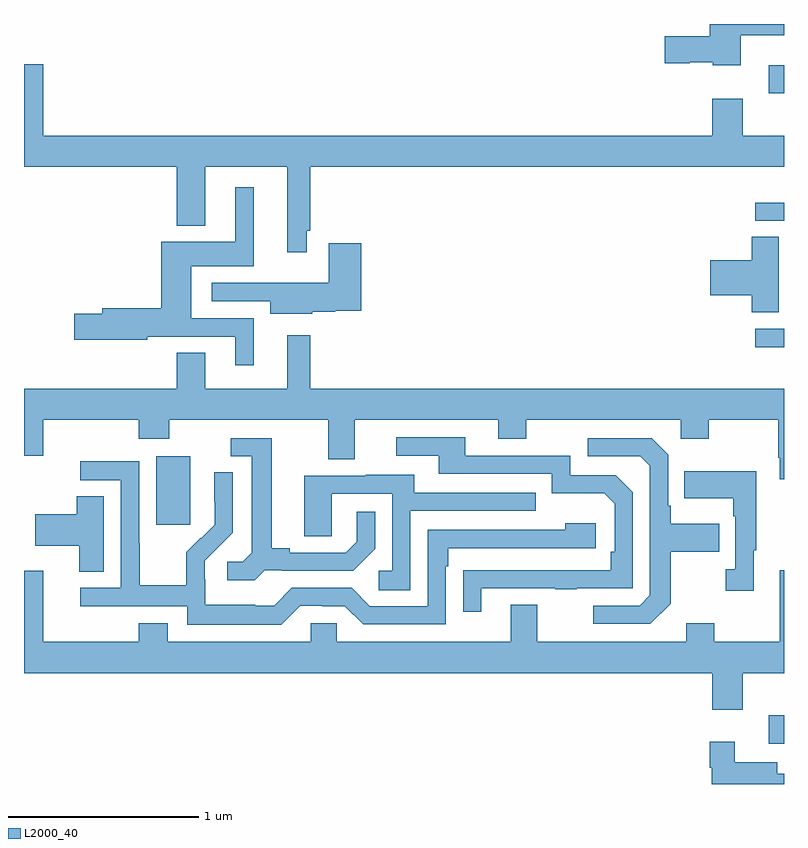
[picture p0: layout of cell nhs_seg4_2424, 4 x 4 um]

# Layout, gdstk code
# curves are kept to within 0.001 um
import gdstk
lib = gdstk.Library(unit=1e-6, precision=1e-09)
def R(c, l, rs):  # rectangles x0, y0, x1, y1
    for r in rs: c.add(gdstk.rectangle(r[:2], r[2:], *l))
def P(c, l, *ps):  # polygons
    for p in ps: c.add(gdstk.Polygon(p, *l))
L2000_40 = (2000, 40)

nhs_seg4_2424 = lib.new_cell('nhs_seg4_2424')
R(nhs_seg4_2424, L2000_40, [(240.921,799.112,241,799.261), (237.695,800.265,237.874,800.626), (240.849,801.199,241,801.297), (240.849,801.864,241,801.96), (240.921,802.536,241,802.684)])
P(nhs_seg4_2424, L2000_40, [(240.773,802.841),(241,802.841),(241,802.9),(240.608,802.9),(240.608,802.835),(240.372,802.835),(240.372,802.693),(240.504,802.693),(240.504,802.7),(240.624,802.7),(240.624,802.682),(240.773,802.682)],
  [(238.489,801.811),(238.507,801.811),(238.507,802.148),(241,802.148),(241,802.312),(240.783,802.312),(240.783,802.507),(240.623,802.507),(240.623,802.312),(237.1,802.312),(237.1,802.687),(237,802.687),(237,802.148),(237.803,802.148),(237.803,801.839),(237.955,801.839),(237.955,802.148),(238.385,802.148),(238.385,801.699),(238.489,801.699)],
  [(238.21,801.351),(237.88,801.351),(237.88,801.626),(238.21,801.626),(238.21,802.042),(238.112,802.042),(238.112,801.754),(237.722,801.754),(237.722,801.404),(237.413,801.404),(237.413,801.374),(237.264,801.374),(237.264,801.239),(237.648,801.239),(237.648,801.255),(238.112,801.255),(238.112,801.105),(238.21,801.105)],
  [(240.973,801.779),(240.83,801.779),(240.83,801.656),(240.612,801.656),(240.612,801.473),(240.83,801.473),(240.83,801.382),(240.973,801.382)],
  [(238.518,801.385),(238.638,801.385),(238.638,801.392),(238.775,801.392),(238.775,801.745),(238.604,801.745),(238.604,801.538),(238.299,801.538),(238.299,801.537),(237.987,801.537),(237.987,801.441),(238.295,801.441),(238.295,801.374),(238.518,801.374)],
  [(237.803,801.17),(237.803,800.98),(237,800.98),(237,800.628),(237.1,800.628),(237.1,800.816),(237.605,800.816),(237.605,800.717),(237.765,800.717),(237.765,800.816),(238.601,800.816),(238.601,800.608),(238.741,800.608),(238.741,800.816),(239.495,800.816),(239.495,800.717),(239.643,800.717),(239.643,800.816),(240.456,800.816),(240.456,800.717),(240.603,800.717),(240.603,800.816),(240.97,800.816),(240.97,800.617),(240.977,800.617),(240.977,800.505),(241,800.505),(241,800.98),(238.507,800.98),(238.507,801.262),(238.385,801.262),(238.385,800.98),(237.955,800.98),(237.955,801.17)],
  [(239.407,799.929),(239.797,799.929),(239.797,799.924),(239.909,799.924),(239.909,799.929),(240.204,799.929),(240.204,800.436),(240.114,800.526),(239.874,800.526),(239.874,800.628),(239.323,800.628),(239.323,800.724),(238.959,800.724),(238.959,800.628),(239.183,800.628),(239.183,800.532),(239.778,800.532),(239.778,800.429),(240.055,800.429),(240.108,800.376),(240.108,800.122),(240.088,800.122),(240.088,800.025),(239.311,800.024),(239.311,799.806),(239.407,799.806)],
  [(238.266,800.025),(238.36,800.025),(238.36,800.022),(238.732,800.022),(238.848,800.138),(238.848,800.332),(238.751,800.332),(238.751,800.175),(238.694,800.118),(238.399,800.118),(238.399,800.141),(238.303,800.141),(238.303,800.721),(238.089,800.721),(238.089,800.625),(238.199,800.625),(238.199,800.117),(238.152,800.07),(238.071,800.07),(238.071,799.973),(238.214,799.973)],
  [(240.403,799.849),(240.403,800.122),(240.659,800.122),(240.659,800.269),(240.403,800.269),(240.403,800.365),(240.39,800.365),(240.39,800.634),(240.303,800.721),(239.967,800.721),(239.967,800.625),(240.243,800.625),(240.294,800.574),(240.294,799.893),(240.24,799.839),(239.997,799.839),(239.997,799.743),(240.297,799.743)],
  [(238.455,799.839),(238.571,799.839),(238.571,799.836),(238.689,799.836),(238.785,799.74),(239.22,799.74),(239.22,800.045),(239.233,800.045),(239.233,800.142),(240.01,800.142),(240.01,800.272),(239.849,800.272),(239.849,800.238),(239.124,800.238),(239.124,799.836),(238.821,799.836),(238.725,799.932),(238.41,799.932),(238.317,799.839),(238.217,799.839),(238.217,799.843),(237.954,799.843),(237.954,799.977),(237.952,799.977),(237.952,800.074),(238.098,800.222),(238.098,800.54),(238.002,800.54),(238.002,800.386),(238.004,800.386),(238.004,800.264),(237.933,800.193),(237.93,800.196),(237.853,800.119),(237.853,799.945),(237.609,799.945),(237.609,800.168),(237.606,800.168),(237.606,800.598),(237.297,800.598),(237.297,800.499),(237.51,800.499),(237.51,799.932),(237.297,799.932),(237.297,799.836),(237.858,799.836),(237.858,799.739),(238.355,799.739)],
  [(240.841,800.129),(240.853,800.129),(240.853,800.545),(240.475,800.545),(240.475,800.405),(240.732,800.405),(240.732,800.309),(240.744,800.309),(240.744,800.03),(240.693,800.03),(240.693,799.917),(240.841,799.917)],
  [(239.034,800.337),(239.693,800.337),(239.693,800.433),(239.053,800.433),(239.053,800.527),(238.799,800.527),(238.799,800.523),(238.475,800.523),(238.475,800.203),(238.62,800.203),(238.62,800.427),(238.938,800.427),(238.938,800.022),(238.866,800.022),(238.866,799.921),(239.034,799.921)],
  [(237.421,800.414),(237.278,800.414),(237.278,800.319),(237.06,800.319),(237.06,800.153),(237.29,800.153),(237.29,800.017),(237.421,800.017)],
  [(240.485,799.648),(239.701,799.648),(239.701,799.843),(239.561,799.843),(239.561,799.648),(238.647,799.648),(238.647,799.746),(238.509,799.746),(238.509,799.648),(237.757,799.648),(237.757,799.747),(237.605,799.747),(237.605,799.648),(237.1,799.648),(237.1,800.023),(237,800.023),(237,799.484),(240.623,799.484),(240.623,799.29),(240.783,799.29),(240.783,799.484),(241,799.484),(241,800.026),(240.977,800.026),(240.977,799.648),(240.633,799.648),(240.633,799.747),(240.485,799.747)],
  [(241,798.955),(240.964,798.955),(240.964,799.015),(240.742,799.015),(240.742,799.123),(240.608,799.123),(240.608,798.986),(240.62,798.986),(240.62,798.9),(241,798.9)])

lib.write_gds('nhs_seg4_2424.gds')
